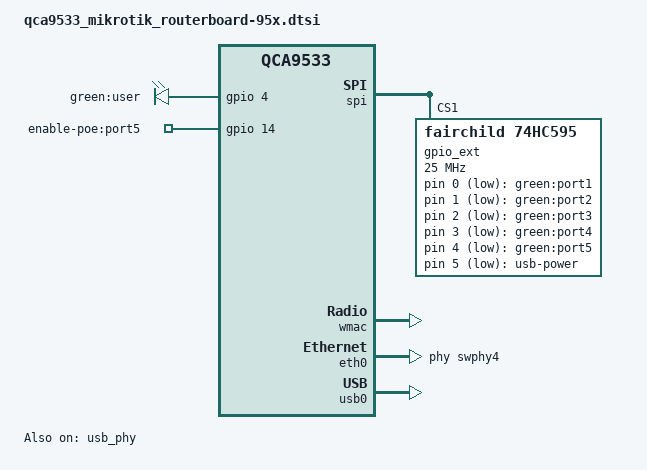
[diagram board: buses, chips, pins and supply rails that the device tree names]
// SPDX-License-Identifier: GPL-2.0-or-later OR MIT

#include "qca9533_mikrotik_routerboard-16m.dtsi"

/ {
	aliases {
		led-boot = &led_user;
		led-failsafe = &led_user;
		led-running = &led_user;
		led-upgrade = &led_user;
	};

	leds {
		compatible = "gpio-leds";

		led_user: user {
			label = "green:user";
			gpios = <&gpio 4 GPIO_ACTIVE_HIGH>;
		};

		port1 {
			label = "green:port1";
			gpios = <&gpio_ext 0 GPIO_ACTIVE_LOW>;
		};

		port2 {
			label = "green:port2";
			gpios = <&gpio_ext 1 GPIO_ACTIVE_LOW>;
		};

		port3 {
			label = "green:port3";
			gpios = <&gpio_ext 2 GPIO_ACTIVE_LOW>;
		};

		port4 {
			label = "green:port4";
			gpios = <&gpio_ext 3 GPIO_ACTIVE_LOW>;
		};

		port5 {
			label = "green:port5";
			gpios = <&gpio_ext 4 GPIO_ACTIVE_LOW>;
		};

	};

	gpio-export {
		compatible = "gpio-export";

		usb_power {
			gpio-export,name = "usb-power";
			gpio-export,output = <1>;
			gpios = <&gpio_ext 5 GPIO_ACTIVE_LOW>;
		};

		enable_poe_port5 {
			gpio-export,name = "enable-poe:port5";
			gpio-export,output = <0>;
			gpios = <&gpio 14 GPIO_ACTIVE_HIGH>;
		};
	};
};

&spi {
	pinctrl-names = "default";
	pinctrl-0 = <&pin_spi_cs1>;

	gpio_ext: gpio_ext@1 {
		compatible = "fairchild,74hc595";
		reg = <1>;
		gpio-controller;
		#gpio-cells = <2>;
		registers-number = <1>;
		spi-max-frequency = <25000000>;
	};
};


&pinmux {
	pin_spi_cs1: pinmux_spi_cs1 {
		pinctrl-single,bits = <0x8 0x0a000000 0xff000000>;
	};
};

&wmac {
	status = "okay";

	qca,no-eeprom;
};

&eth0 {
	status = "okay";

	phy-handle = <&swphy4>;
};

&usb0 {
	status = "okay";
};

&usb_phy {
	status = "okay";
};
